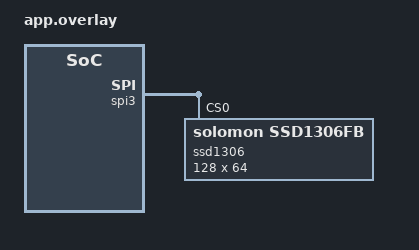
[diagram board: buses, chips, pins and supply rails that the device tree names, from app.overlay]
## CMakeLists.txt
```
cmake_minimum_required(VERSION 3.20.0)

find_package(Zephyr)
project(zephyr_ssd1306)

target_sources(app PRIVATE src/main.c)
```

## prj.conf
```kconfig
CONFIG_SPI=y
CONFIG_DISPLAY=y
CONFIG_SSD1306=y
# From Zephyr 3.5.0 CONFIG_SSD1306_DEFAULT is no longer used
# CONFIG_SSD1306_DEFAULT=y
CONFIG_SSD1306_DEFAULT_CONTRAST=128
CONFIG_LOG=y
CONFIG_SSD1306_SH1106_COMPATIBLE=y
```

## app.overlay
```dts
&spi3 {
    compatible = "nordic,nrf-spim";
    FREQ
    ssd1306: ssd1306@ {
        compatible = "solomon,ssd1306fb";
        reg = <0>;
        height = <64>;
        width = <128>;
        segment-offset = <2>;
        page-offset = <0>;
        display-offset = <0>;
        multiplex-ratio = <63>;
        prechargep = <0x22>;
        com-invdir;
        segment-remap;
    };
};
```

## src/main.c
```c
#include <stdint.h>
#include <zephyr/device.h>
#include <zephyr/kernel.h>
#include <zephyr/drivers/display.h>
#include <zephyr/logging/log.h>

#include "logo_image.h"

#define DISPLAY_BUFFER_PITCH 128

LOG_MODULE_REGISTER(display);

static const struct device *display = DEVICE_DT_GET(DT_NODELABEL(ssd1306));

void main(void)
{
  if (display == NULL) {
    LOG_ERR("device pointer is NULL");
    return;
  }

  if (!device_is_ready(display)) {
    LOG_ERR("display device is not ready");
    return;
  }

  struct display_capabilities capabilities;
  display_get_capabilities(display, &capabilities);

  const uint16_t x_res = capabilities.x_resolution;
  const uint16_t y_res = capabilities.y_resolution;

  LOG_INF("x_resolution: %d", x_res);
  LOG_INF("y_resolution: %d", y_res);
  LOG_INF("supported pixel formats: %d", capabilities.supported_pixel_formats);
  LOG_INF("screen_info: %d", capabilities.screen_info);
  LOG_INF("current_pixel_format: %d", capabilities.current_pixel_format);
  LOG_INF("current_orientation: %d", capabilities.current_orientation);
	 
  const struct display_buffer_descriptor buf_desc = {
    .width = x_res,
    .height = y_res,
    .buf_size = x_res * y_res,
    .pitch = DISPLAY_BUFFER_PITCH
  };

  if (display_write(display, 0, 0, &buf_desc, buf) != 0) {
    LOG_ERR("could not write to display");
  }

  if (display_set_contrast(display, 0) != 0) {
    LOG_ERR("could not set display contrast");
  }
  size_t ms_sleep = 5;

  while (true) {
    // Increase brightness
    for (size_t i = 0; i < 255; i++) {
      display_set_contrast(display, i);
      k_sleep(K_MSEC(ms_sleep));
    }

    // Decrease brightness
    for (size_t i = 255; i > 0; i--) {
      display_set_contrast(display, i);
      k_sleep(K_MSEC(ms_sleep));
    }
  }
}
```

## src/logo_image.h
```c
uint8_t buf[1024] = { 0xff, 0xff, 0xff, 0xff, 0xff, 0xff, 0xff, 0xff, 0xff, 0xff, 0xff, 0xff, 0xff, 0xff, 0xff, 0xff,
  0xff, 0xff, 0xff, 0xff, 0xff, 0xff, 0xff, 0xff, 0xff, 0xff, 0xff, 0xff, 0xff, 0xff, 0xff, 0xff,
  0xff, 0xff, 0xff, 0xff, 0xff, 0xff, 0xff, 0xff, 0xff, 0xff, 0xff, 0xff, 0xff, 0xff, 0xff, 0xff,
  0xff, 0xff, 0xff, 0xff, 0xff, 0xf0, 0xff, 0xff, 0xff, 0xe1, 0xff, 0xff, 0xff, 0xff, 0xff, 0xff,
  0xff, 0xff, 0xff, 0xff, 0xff, 0xe2, 0x7f, 0xff, 0xff, 0xc4, 0xff, 0xff, 0xff, 0xff, 0xff, 0xff,
  0xff, 0xff, 0xff, 0xff, 0xff, 0xe7, 0x3f, 0xc0, 0x00, 0x0c, 0xff, 0xff, 0xff, 0xff, 0xff, 0xff,
  0xff, 0xff, 0xff, 0xff, 0xff, 0xe6, 0x7e, 0x7f, 0xff, 0xcc, 0xff, 0xff, 0xff, 0xff, 0xff, 0xff,
  0xff, 0xff, 0xff, 0xff, 0xff, 0xf0, 0xfb, 0xff, 0xff, 0xe1, 0xff, 0xff, 0xff, 0xff, 0xff, 0xff,
  0xff, 0xff, 0xff, 0xff, 0xff, 0xff, 0xff, 0xff, 0xff, 0xff, 0xff, 0xff, 0xff, 0xff, 0xff, 0xff,
  0xff, 0xff, 0xff, 0xff, 0xff, 0xff, 0xff, 0xff, 0xff, 0xff, 0xff, 0xff, 0xff, 0xff, 0xff, 0xff,
  0xff, 0xff, 0xff, 0xff, 0xff, 0xff, 0xff, 0xff, 0xff, 0xff, 0xff, 0xff, 0xff, 0xff, 0xff, 0xff,
  0xff, 0xff, 0xff, 0xff, 0xff, 0xff, 0xff, 0xff, 0xff, 0xff, 0xff, 0xff, 0xff, 0xff, 0xff, 0xff,
  0xff, 0xff, 0xff, 0xff, 0xff, 0xff, 0xff, 0xff, 0xff, 0xff, 0xff, 0xff, 0xff, 0xff, 0xff, 0xff,
  0xff, 0xff, 0xff, 0xff, 0xff, 0xff, 0xff, 0xff, 0xff, 0xff, 0xff, 0xff, 0xff, 0xff, 0xff, 0xff,
  0xff, 0xff, 0xff, 0xff, 0xff, 0xff, 0xff, 0xff, 0xff, 0xff, 0xff, 0xff, 0xff, 0xff, 0xff, 0xff,
  0xff, 0xff, 0xff, 0xff, 0xff, 0xff, 0xff, 0xff, 0xff, 0xf3, 0xff, 0xff, 0xff, 0xff, 0xff, 0xff,
  0xff, 0xff, 0xff, 0xff, 0xff, 0xff, 0xff, 0xff, 0xff, 0xfe, 0x7f, 0xff, 0xff, 0xff, 0xff, 0xff,
  0xff, 0xff, 0xff, 0xff, 0xff, 0xff, 0xff, 0xff, 0xff, 0xdf, 0xbf, 0xff, 0xff, 0xff, 0xff, 0xff,
  0xff, 0xff, 0xff, 0xff, 0xff, 0xff, 0xff, 0xff, 0xff, 0xdf, 0xcf, 0xff, 0xff, 0xff, 0xff, 0xff,
  0xff, 0xff, 0xff, 0xff, 0xff, 0xff, 0xff, 0xff, 0xff, 0x9f, 0xe7, 0xff, 0xff, 0xff, 0xff, 0xff,
  0xff, 0xff, 0xff, 0xff, 0xff, 0xff, 0xff, 0xff, 0xff, 0x9f, 0xf7, 0xff, 0xff, 0xff, 0xff, 0xff,
  0xff, 0xff, 0xff, 0xff, 0xff, 0xff, 0xff, 0xff, 0xff, 0x3f, 0xf3, 0xff, 0xff, 0xff, 0xff, 0xff,
  0xff, 0xff, 0xff, 0xff, 0xff, 0xff, 0xff, 0xff, 0xff, 0x3f, 0xfb, 0xff, 0xff, 0xff, 0xff, 0xff,
  0xff, 0xff, 0xff, 0xff, 0xff, 0xf9, 0xff, 0xff, 0xfc, 0x7f, 0xf9, 0xff, 0xff, 0xff, 0xff, 0xff,
  0xff, 0xff, 0xff, 0xff, 0xff, 0xf9, 0xff, 0xff, 0xf8, 0xff, 0xfd, 0xff, 0xff, 0xff, 0xff, 0xff,
  0xff, 0xff, 0xff, 0xff, 0xff, 0xf9, 0xfb, 0xff, 0xf3, 0xff, 0xfd, 0xff, 0xff, 0xff, 0xff, 0xff,
  0xff, 0xff, 0xff, 0xff, 0xff, 0xf9, 0xfe, 0x7f, 0x8f, 0xff, 0xfd, 0xff, 0xff, 0xff, 0xff, 0xff,
  0xff, 0xff, 0xff, 0xff, 0xff, 0xf9, 0xff, 0xc0, 0x7f, 0xff, 0xfd, 0xff, 0xff, 0xff, 0xff, 0xff,
  0xff, 0xff, 0xff, 0xff, 0xff, 0xf9, 0xff, 0xff, 0xff, 0xff, 0xf9, 0xff, 0xff, 0xff, 0xff, 0xff,
  0xff, 0xff, 0xff, 0xff, 0xff, 0xf9, 0xff, 0xff, 0xff, 0xff, 0xfb, 0xff, 0xff, 0xff, 0xff, 0xff,
  0xff, 0xff, 0xff, 0xff, 0xff, 0xf9, 0xff, 0xff, 0xff, 0xff, 0xf3, 0xff, 0xff, 0xff, 0xff, 0xff,
  0xff, 0xff, 0xff, 0xff, 0xff, 0xf9, 0xff, 0xff, 0xff, 0xff, 0xf7, 0xff, 0xff, 0xff, 0xff, 0xff,
  0xff, 0xff, 0xff, 0xff, 0xff, 0xf9, 0xff, 0xff, 0xff, 0xff, 0xef, 0xff, 0xff, 0xff, 0xff, 0xff,
  0xff, 0xff, 0xff, 0xff, 0xff, 0xf9, 0xff, 0xff, 0xff, 0xff, 0xdf, 0xff, 0xff, 0xff, 0xff, 0xff,
  0xff, 0xff, 0xff, 0xff, 0xff, 0xf8, 0xff, 0xff, 0xff, 0xff, 0x3f, 0xff, 0xff, 0xff, 0xff, 0xff,
  0xff, 0xff, 0xff, 0xff, 0xff, 0xf0, 0x7f, 0xff, 0xff, 0xfc, 0xff, 0xff, 0xff, 0xff, 0xff, 0xff,
  0xff, 0xff, 0xff, 0xff, 0xff, 0xe7, 0x3f, 0xff, 0xff, 0xe7, 0xff, 0xff, 0xff, 0xff, 0xff, 0xff,
  0xff, 0xff, 0xff, 0xff, 0xff, 0xe7, 0x7f, 0xff, 0xff, 0xff, 0xff, 0xff, 0xff, 0xff, 0xff, 0xff,
  0xff, 0xff, 0xff, 0xff, 0xff, 0xf0, 0x7f, 0xff, 0xff, 0xff, 0xff, 0xff, 0xff, 0xff, 0xff, 0xff,
  0xff, 0xff, 0xff, 0xff, 0xff, 0xff, 0xff, 0xff, 0xff, 0xff, 0xff, 0xff, 0xff, 0xff, 0xff, 0xff,
  0xff, 0xff, 0xff, 0xff, 0xff, 0xff, 0xff, 0xff, 0xff, 0xff, 0xff, 0xff, 0xff, 0xff, 0xff, 0xff,
  0xff, 0xff, 0xff, 0xff, 0xff, 0xff, 0xff, 0xff, 0xff, 0xff, 0xff, 0xff, 0xff, 0xff, 0xff, 0xff,
  0xff, 0xff, 0xff, 0xff, 0xff, 0xff, 0xff, 0xff, 0xff, 0xff, 0xff, 0xff, 0xff, 0xff, 0xff, 0xff,
  0xff, 0xff, 0xff, 0xff, 0xff, 0xff, 0xff, 0xff, 0xff, 0xff, 0xff, 0xff, 0xff, 0xff, 0xff, 0xff,
  0xff, 0xff, 0xff, 0xff, 0xff, 0xff, 0xff, 0xff, 0xff, 0xff, 0xff, 0xff, 0xff, 0xff, 0xff, 0xff,
  0xff, 0xff, 0xff, 0xff, 0xff, 0xff, 0xff, 0xff, 0xff, 0xff, 0xff, 0xff, 0xff, 0xff, 0xff, 0xff,
  0xff, 0xff, 0xff, 0xff, 0xff, 0xff, 0xff, 0xff, 0xff, 0xff, 0xff, 0xff, 0xff, 0xff, 0xff, 0xff,
  0xff, 0xff, 0xff, 0xff, 0xff, 0xff, 0xff, 0xff, 0x9f, 0xff, 0xff, 0xff, 0xff, 0xff, 0xf8, 0xff,
  0xff, 0x1f, 0xff, 0xff, 0xff, 0xff, 0xff, 0xfe, 0x79, 0xff, 0xff, 0xff, 0xff, 0xff, 0xcf, 0x9f,
  0xff, 0xbf, 0xff, 0xff, 0xff, 0xff, 0xff, 0xfd, 0xfd, 0xff, 0xff, 0xff, 0xff, 0xff, 0x1f, 0xdf,
  0xff, 0xbf, 0xff, 0xff, 0xff, 0xff, 0xff, 0xf9, 0xff, 0xff, 0xff, 0xff, 0xff, 0xff, 0x3f, 0xff,
  0xff, 0xbf, 0x1f, 0xbe, 0x79, 0xf9, 0xe7, 0x98, 0xff, 0xe7, 0xde, 0x7f, 0x9f, 0x9e, 0x7f, 0xff,
  0xff, 0xbf, 0x1f, 0xbe, 0xfe, 0xfb, 0xe7, 0xfc, 0x7f, 0xf7, 0xfe, 0x3f, 0x9f, 0xbe, 0x7f, 0xff,
  0xff, 0xbf, 0x4f, 0xbe, 0xfe, 0x7b, 0xe7, 0xfe, 0x1f, 0xf7, 0xfe, 0x3f, 0x9f, 0xbe, 0x7f, 0xff,
  0xff, 0xbf, 0x67, 0xbe, 0xff, 0x7b, 0xe7, 0xff, 0x87, 0xf7, 0xfe, 0x9f, 0x5f, 0xbc, 0x7f, 0xff,
  0xff, 0xbf, 0x73, 0xbe, 0xff, 0x7b, 0xe7, 0x7f, 0xf1, 0xf7, 0x3e, 0xde, 0xdf, 0xbe, 0x7f, 0xff,
  0xff, 0xbf, 0x7b, 0xbe, 0xff, 0x7b, 0xe7, 0x7f, 0xf8, 0xf7, 0xbe, 0xce, 0xdf, 0xbe, 0x7f, 0xff,
  0xff, 0xbf, 0x7d, 0xbe, 0xff, 0x7b, 0xe7, 0xff, 0xfc, 0xf7, 0xfe, 0xed, 0xcf, 0xbe, 0x7f, 0xff,
  0xff, 0xbf, 0x7e, 0xbe, 0xfe, 0x7b, 0xe7, 0xf9, 0xfc, 0xf7, 0xfe, 0xe5, 0xcf, 0xbf, 0x3f, 0xef,
  0xff, 0xbf, 0x7f, 0x3e, 0xfc, 0xfb, 0xe7, 0xd9, 0xf9, 0xf7, 0xfe, 0xf3, 0xcf, 0xbf, 0x1f, 0xcf,
  0xff, 0x1f, 0x3f, 0x3e, 0x79, 0xf1, 0xe7, 0x98, 0xf3, 0xe7, 0xdc, 0xf3, 0xcf, 0x9f, 0xc7, 0x8f,
  0xff, 0xff, 0xff, 0xff, 0xff, 0xff, 0xff, 0xff, 0xff, 0xff, 0xff, 0xff, 0xff, 0xff, 0xff, 0xff,
  0xff, 0xff, 0xff, 0xff, 0xff, 0xff, 0xff, 0xff, 0xff, 0xff, 0xff, 0xff, 0xff, 0xff, 0xff, 0xff,
  0xff, 0xff, 0xff, 0xff, 0xff, 0xff, 0xff, 0xff, 0xff, 0xff, 0xff, 0xff, 0xff, 0xff, 0xff, 0xff};
```
